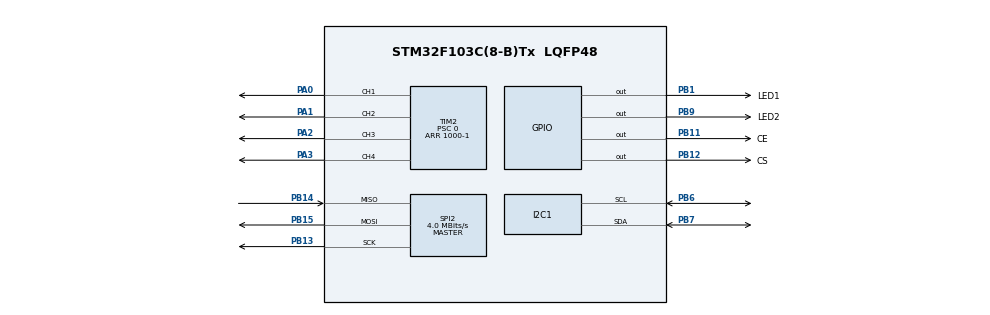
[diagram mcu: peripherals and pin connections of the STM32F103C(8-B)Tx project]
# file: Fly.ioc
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FREERTOS.INCLUDE_vTaskDelayUntil=1
FREERTOS.Tasks01=defaultTask,0,128,StartDefaultTask,Default,NULL,Dynamic,NULL,NULL;Task_2ms,2,128,StartTask_2ms,Default,NULL,Dynamic,NULL,NULL;Task_4ms,-3,128,StartTask_4ms,Default,NULL,Dynamic,NULL,NULL
FREERTOS.configUSE_NEWLIB_REENTRANT=1
Mcu.Family=STM32F1
Mcu.Name=STM32F103C(8-B)Tx
Mcu.Package=LQFP48
NVIC.PriorityGroup=NVIC_PRIORITYGROUP_4
NVIC.TIM4_IRQn=true\:15\:0\:false\:false\:true\:false\:false\:true\:true
NVIC.TimeBase=TIM4_IRQn
NVIC.TimeBaseIP=TIM4
PA0-WKUP.Signal=S_TIM2_CH1_ETR
PA1.Signal=S_TIM2_CH2
PA13.Mode=Serial_Wire
PA13.Signal=SYS_JTMS-SWDIO
PA14.Mode=Serial_Wire
PA14.Signal=SYS_JTCK-SWCLK
PA2.Signal=S_TIM2_CH3
PA3.Signal=S_TIM2_CH4
PB1.GPIO_Label=LED1
PB1.Signal=GPIO_Output
PB11.GPIO_Label=CE
PB11.Signal=GPIO_Output
PB12.GPIO_Label=CS
PB12.Signal=GPIO_Output
PB13.Mode=Full_Duplex_Master
PB13.Signal=SPI2_SCK
PB14.Mode=Full_Duplex_Master
PB14.Signal=SPI2_MISO
PB15.Mode=Full_Duplex_Master
PB15.Signal=SPI2_MOSI
PB6.Mode=I2C
PB6.Signal=I2C1_SCL
PB7.Mode=I2C
PB7.Signal=I2C1_SDA
PB9.GPIO_Label=LED2
PB9.Signal=GPIO_Output
ProjectManager.HeapSize=0x200
ProjectManager.StackSize=0x400
ProjectManager.TargetToolchain=STM32CubeIDE
RCC.APB1Freq_Value=8000000
RCC.APB2Freq_Value=8000000
SH.S_TIM2_CH1_ETR.0=TIM2_CH1,PWM Generation1 CH1
SH.S_TIM2_CH2.0=TIM2_CH2,PWM Generation2 CH2
SH.S_TIM2_CH3.0=TIM2_CH3,PWM Generation3 CH3
SH.S_TIM2_CH4.0=TIM2_CH4,PWM Generation4 CH4
SPI2.CalculateBaudRate=4.0 MBits/s
SPI2.Direction=SPI_DIRECTION_2LINES
SPI2.Mode=SPI_MODE_MASTER
SPI2.VirtualType=VM_MASTER
TIM2.Channel-PWM\ Generation1\ CH1=TIM_CHANNEL_1
TIM2.Channel-PWM\ Generation2\ CH2=TIM_CHANNEL_2
TIM2.Channel-PWM\ Generation3\ CH3=TIM_CHANNEL_3
TIM2.Channel-PWM\ Generation4\ CH4=TIM_CHANNEL_4
TIM2.Period=1000-1
TIM2.Prescaler=0
VP_FREERTOS_VS_CMSIS_V1.Mode=CMSIS_V1
VP_SYS_VS_tim4.Mode=TIM4
VP_TIM2_VS_ClockSourceINT.Mode=Internal
board=custom

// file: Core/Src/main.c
/* USER CODE BEGIN Header */
/**
  ******************************************************************************
  * @file           : main.c
  * @brief          : Main program body
  ******************************************************************************
  * @attention
  *
  * Copyright (c) 2024 STMicroelectronics.
  * All rights reserved.
  *
  * This software is licensed under terms that can be found in the LICENSE file
  * in the root directory of this software component.
  * If no LICENSE file comes with this software, it is provided AS-IS.
  *
  ******************************************************************************
  */
/* USER CODE END Header */
#include "main.h"
#include "cmsis_os.h"
#include "i2c.h"
#include "spi.h"
#include "tim.h"
#include "gpio.h"

/* USER CODE BEGIN Includes */
#include "nrf24L01.h"
#include"Fly_Data.h"
#include"pid.h"
#include"motor.h"
/* USER CODE END Includes */

void SystemClock_Config(void);
void MX_FREERTOS_Init(void);

int main(void)
{

  /* MCU Configuration--------------------------------------------------------*/

  /* Reset of all peripherals, Initializes the Flash interface and the Systick. */
  HAL_Init();

  /* Configure the system clock */
  SystemClock_Config();

  /* Initialize all configured peripherals */
  MX_GPIO_Init();
  MX_SPI2_Init();
  MX_TIM2_Init();
  MX_I2C1_Init();
  /* USER CODE BEGIN 2 */

	 NRF24L01_RX_Mode();//开启接收模式
	 Pid_Init();
	HAL_TIM_PWM_Start(&htim2, TIM_CHANNEL_1);
	HAL_TIM_PWM_Start(&htim2, TIM_CHANNEL_2);
	HAL_TIM_PWM_Start(&htim2, TIM_CHANNEL_3);
	HAL_TIM_PWM_Start(&htim2, TIM_CHANNEL_4);
	//自检，连接正常就亮LED2
if(NRF24L01_Check()  == 0){
	  HAL_GPIO_WritePin(LED2_GPIO_Port, LED2_Pin, GPIO_PIN_SET);

}

	/*
	HAL_TIM_PWM_Start(&htim2, TIM_CHANNEL_3);
	HAL_TIM_PWM_Start(&htim2, TIM_CHANNEL_4);*/

  /* USER CODE END 2 */

  /* Call init function for freertos objects (in freertos.c) */
  MX_FREERTOS_Init();

  /* Start scheduler */
  osKernelStart();

  /* We should never get here as control is now taken by the scheduler */
  /* Infinite loop */
  while (1)
  {

  }
}

void SystemClock_Config(void)
{
  RCC_OscInitTypeDef RCC_OscInitStruct = {0};
  RCC_ClkInitTypeDef RCC_ClkInitStruct = {0};

  /** Initializes the RCC Oscillators according to the specified parameters
  * in the RCC_OscInitTypeDef structure.
  */
  RCC_OscInitStruct.OscillatorType = RCC_OSCILLATORTYPE_HSI;
  RCC_OscInitStruct.HSIState = RCC_HSI_ON;
  RCC_OscInitStruct.HSICalibrationValue = RCC_HSICALIBRATION_DEFAULT;
  RCC_OscInitStruct.PLL.PLLState = RCC_PLL_NONE;
  if (HAL_RCC_OscConfig(&RCC_OscInitStruct) != HAL_OK)
  {
    Error_Handler();
  }

  /** Initializes the CPU, AHB and APB buses clocks
  */
  RCC_ClkInitStruct.ClockType = RCC_CLOCKTYPE_HCLK|RCC_CLOCKTYPE_SYSCLK
                              |RCC_CLOCKTYPE_PCLK1|RCC_CLOCKTYPE_PCLK2;
  RCC_ClkInitStruct.SYSCLKSource = RCC_SYSCLKSOURCE_HSI;
  RCC_ClkInitStruct.AHBCLKDivider = RCC_SYSCLK_DIV1;
  RCC_ClkInitStruct.APB1CLKDivider = RCC_HCLK_DIV1;
  RCC_ClkInitStruct.APB2CLKDivider = RCC_HCLK_DIV1;

  if (HAL_RCC_ClockConfig(&RCC_ClkInitStruct, FLASH_LATENCY_0) != HAL_OK)
  {
    Error_Handler();
  }
}

void HAL_TIM_PeriodElapsedCallback(TIM_HandleTypeDef *htim)
{
  if (htim->Instance == TIM4) {
    HAL_IncTick();
  }
}

void Error_Handler(void)
{
  __disable_irq();
  while (1)
  {
  }
}

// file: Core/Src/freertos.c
/* USER CODE BEGIN Header */
/**
  ******************************************************************************
  * File Name          : freertos.c
  * Description        : Code for freertos applications
  ******************************************************************************
  * @attention
  *
  * Copyright (c) 2024 STMicroelectronics.
  * All rights reserved.
  *
  * This software is licensed under terms that can be found in the LICENSE file
  * in the root directory of this software component.
  * If no LICENSE file comes with this software, it is provided AS-IS.
  *
  ******************************************************************************
  */
/* USER CODE END Header */

#include "FreeRTOS.h"
#include "task.h"
#include "main.h"
#include "cmsis_os.h"

/* USER CODE BEGIN Includes */
#include "nrf24L01.h"
#include"Fly_Data.h"
#include"pid.h"
#include"motor.h"
#include"mpu6050.h"
/* USER CODE END Includes */

osThreadId defaultTaskHandle;
osThreadId Task_2msHandle;
osThreadId Task_4msHandle;

void StartDefaultTask(void const * argument);
void StartTask_2ms(void const * argument);
void StartTask_4ms(void const * argument);

void MX_FREERTOS_Init(void); /* (MISRA C 2004 rule 8.1) */

/* GetIdleTaskMemory prototype (linked to static allocation support) */
void vApplicationGetIdleTaskMemory( StaticTask_t **ppxIdleTaskTCBBuffer, StackType_t **ppxIdleTaskStackBuffer, uint32_t *pulIdleTaskStackSize );

/* USER CODE BEGIN GET_IDLE_TASK_MEMORY */
static StaticTask_t xIdleTaskTCBBuffer;
static StackType_t xIdleStack[configMINIMAL_STACK_SIZE];

void vApplicationGetIdleTaskMemory( StaticTask_t **ppxIdleTaskTCBBuffer, StackType_t **ppxIdleTaskStackBuffer, uint32_t *pulIdleTaskStackSize )
{
  *ppxIdleTaskTCBBuffer = &xIdleTaskTCBBuffer;
  *ppxIdleTaskStackBuffer = &xIdleStack[0];
  *pulIdleTaskStackSize = configMINIMAL_STACK_SIZE;
  /* place for user code */
}
/* USER CODE END GET_IDLE_TASK_MEMORY */

void MX_FREERTOS_Init(void) {

  /* Create the thread(s) */
  /* definition and creation of defaultTask */
  osThreadDef(defaultTask, StartDefaultTask, osPriorityNormal, 0, 128);
  defaultTaskHandle = osThreadCreate(osThread(defaultTask), NULL);

  /* definition and creation of Task_2ms */
  osThreadDef(Task_2ms, StartTask_2ms, osPriorityHigh, 0, 128);
  Task_2msHandle = osThreadCreate(osThread(Task_2ms), NULL);

  /* definition and creation of Task_4ms */
  osThreadDef(Task_4ms, StartTask_4ms, osPriorityIdle, 0, 128);
  Task_4msHandle = osThreadCreate(osThread(Task_4ms), NULL);

}

void StartDefaultTask(void const * argument)
{
  for(;;)
  {
    osDelay(1);
  }
}

void StartTask_2ms(void const * argument)
{
  /* USER CODE BEGIN StartTask_2ms */
	TickType_t pxPreviousWakeTime;
	pxPreviousWakeTime = xTaskGetTickCount();
  /* Infinite loop */
  for(;;)
  {
	  MPU6050_Read_Result();//获取数据，计算欧拉角
	  PID_Control();
	  Motor_Control();//电机控制
	  vTaskDelayUntil(&pxPreviousWakeTime, 2);
  }
  /* USER CODE END StartTask_2ms */
}

void StartTask_4ms(void const * argument)
{
  /* USER CODE BEGIN StartTask_4ms */
	TickType_t pxPreviousWakeTime;
	pxPreviousWakeTime = xTaskGetTickCount();
  /* Infinite loop */
  for(;;)
  {
	  NRF24L01_RxPacket(RX_BUFF);//接收数据
	  DataRead(RX_BUFF,TX_PLOAD_WIDTH);//解析数据
	  vTaskDelayUntil(&pxPreviousWakeTime, 4);
  }
  /* USER CODE END StartTask_4ms */
}
